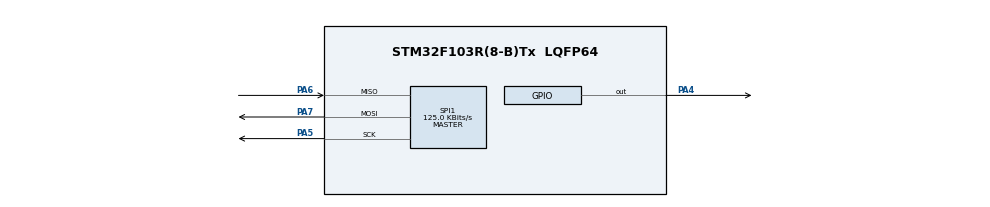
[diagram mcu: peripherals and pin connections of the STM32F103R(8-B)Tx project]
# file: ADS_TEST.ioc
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Mcu.Family=STM32F1
Mcu.Name=STM32F103R(8-B)Tx
Mcu.Package=LQFP64
NVIC.PriorityGroup=NVIC_PRIORITYGROUP_4
PA13.Mode=Serial_Wire
PA13.Signal=SYS_JTMS-SWDIO
PA14.Mode=Serial_Wire
PA14.Signal=SYS_JTCK-SWCLK
PA4.Signal=GPIO_Output
PA5.Mode=Full_Duplex_Master
PA5.Signal=SPI1_SCK
PA6.Mode=Full_Duplex_Master
PA6.Signal=SPI1_MISO
PA7.Mode=Full_Duplex_Master
PA7.Signal=SPI1_MOSI
ProjectManager.HeapSize=0x200
ProjectManager.StackSize=0x400
ProjectManager.TargetToolchain=CMake
RCC.APB1Freq_Value=8000000
RCC.APB2Freq_Value=8000000
SPI1.BaudRatePrescaler=SPI_BAUDRATEPRESCALER_64
SPI1.CLKPhase=SPI_PHASE_2EDGE
SPI1.CalculateBaudRate=125.0 KBits/s
SPI1.Direction=SPI_DIRECTION_2LINES
SPI1.Mode=SPI_MODE_MASTER
SPI1.VirtualType=VM_MASTER
board=custom

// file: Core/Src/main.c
/* USER CODE BEGIN Header */
/**
  ******************************************************************************
  * @file           : main.c
  * @brief          : Main program body
  ******************************************************************************
  * @attention
  *
  * Copyright (c) 2026 STMicroelectronics.
  * All rights reserved.
  *
  * This software is licensed under terms that can be found in the LICENSE file
  * in the root directory of this software component.
  * If no LICENSE file comes with this software, it is provided AS-IS.
  *
  ******************************************************************************
  */
/* USER CODE END Header */
#include "main.h"

SPI_HandleTypeDef hspi1;

/* USER CODE BEGIN PV */
volatile int test_result = 0;

uint8_t spi_tx[2] = {0xA5, 0x5A};
uint8_t spi_rx[2] = {0};

volatile uint32_t spi_ok = 0;
volatile uint32_t spi_error = 0;

/* USER CODE END PV */

void SystemClock_Config(void);
static void MX_GPIO_Init(void);
static void MX_SPI1_Init(void);

/* USER CODE BEGIN 0 */

// Формирование SPI-команды чтения регистров
static uint8_t ADS1220_RREG(uint8_t reg, uint8_t count)
{
    return 0x20 | (reg << 2) | (count - 1);
}

// Преобразование 24-битного результата АЦП
static int32_t ADS1220_Decode(uint8_t b0,
                              uint8_t b1,
                              uint8_t b2)
{
    uint32_t raw = ((uint32_t)b0 << 16) |
                   ((uint32_t)b1 << 8) | b2;

    if (raw & 0x800000)
        return (int32_t)raw - 0x1000000;

    return (int32_t)raw;
}

/* USER CODE END 0 */

int main(void)
{

  /* MCU Configuration--------------------------------------------------------*/

  /* Reset of all peripherals, Initializes the Flash interface and the Systick. */
  HAL_Init();

  /* Configure the system clock */
  SystemClock_Config();

  /* Initialize all configured peripherals */
  MX_GPIO_Init();
  MX_SPI1_Init();
  HAL_GPIO_WritePin(GPIOA, GPIO_PIN_4, GPIO_PIN_SET);
  /* USER CODE BEGIN 2 */

  if (ADS1220_RREG(0, 1) == 0x20 &&
      ADS1220_RREG(1, 3) == 0x26 &&
      ADS1220_Decode(0x7F, 0xFF, 0xFF) == 8388607 &&
      ADS1220_Decode(0xFF, 0xFF, 0xFF) == -1)
  {
      test_result = 1; // Тест пройден
  }
  else
  {
      test_result = -1; // Ошибка
  }

  /* USER CODE END 2 */

  /* Infinite loop */
  while (1)
  {

    /* USER CODE BEGIN 3 */
    HAL_GPIO_WritePin(GPIOA, GPIO_PIN_4, GPIO_PIN_RESET);

/* Передаём и принимаем два байта */
    HAL_StatusTypeDef status = HAL_SPI_TransmitReceive(
        &hspi1,
        spi_tx,
        spi_rx,
        2,
        100
    );

    /* Поднимаем CS */
    HAL_GPIO_WritePin(GPIOA, GPIO_PIN_4, GPIO_PIN_SET);

    /* Проверяем результат */
    if (status == HAL_OK &&
        spi_rx[0] == spi_tx[0] &&
        spi_rx[1] == spi_tx[1])
    {
        spi_ok++;
    }
    else
    {
        spi_error++;
    }

    /* Задержка перед следующей передачей */
    HAL_Delay(500);
  }
  /* USER CODE END 3 */
}

void SystemClock_Config(void)
{
  RCC_OscInitTypeDef RCC_OscInitStruct = {0};
  RCC_ClkInitTypeDef RCC_ClkInitStruct = {0};

  /** Initializes the RCC Oscillators according to the specified parameters
  * in the RCC_OscInitTypeDef structure.
  */
  RCC_OscInitStruct.OscillatorType = RCC_OSCILLATORTYPE_HSI;
  RCC_OscInitStruct.HSIState = RCC_HSI_ON;
  RCC_OscInitStruct.HSICalibrationValue = RCC_HSICALIBRATION_DEFAULT;
  RCC_OscInitStruct.PLL.PLLState = RCC_PLL_NONE;
  if (HAL_RCC_OscConfig(&RCC_OscInitStruct) != HAL_OK)
  {
    Error_Handler();
  }

  /** Initializes the CPU, AHB and APB buses clocks
  */
  RCC_ClkInitStruct.ClockType = RCC_CLOCKTYPE_HCLK|RCC_CLOCKTYPE_SYSCLK
                              |RCC_CLOCKTYPE_PCLK1|RCC_CLOCKTYPE_PCLK2;
  RCC_ClkInitStruct.SYSCLKSource = RCC_SYSCLKSOURCE_HSI;
  RCC_ClkInitStruct.AHBCLKDivider = RCC_SYSCLK_DIV1;
  RCC_ClkInitStruct.APB1CLKDivider = RCC_HCLK_DIV1;
  RCC_ClkInitStruct.APB2CLKDivider = RCC_HCLK_DIV1;

  if (HAL_RCC_ClockConfig(&RCC_ClkInitStruct, FLASH_LATENCY_0) != HAL_OK)
  {
    Error_Handler();
  }
}

static void MX_SPI1_Init(void)
{

  /* SPI1 parameter configuration*/
  hspi1.Instance = SPI1;
  hspi1.Init.Mode = SPI_MODE_MASTER;
  hspi1.Init.Direction = SPI_DIRECTION_2LINES;
  hspi1.Init.DataSize = SPI_DATASIZE_8BIT;
  hspi1.Init.CLKPolarity = SPI_POLARITY_LOW;
  hspi1.Init.CLKPhase = SPI_PHASE_2EDGE;
  hspi1.Init.NSS = SPI_NSS_SOFT;
  hspi1.Init.BaudRatePrescaler = SPI_BAUDRATEPRESCALER_64;
  hspi1.Init.FirstBit = SPI_FIRSTBIT_MSB;
  hspi1.Init.TIMode = SPI_TIMODE_DISABLE;
  hspi1.Init.CRCCalculation = SPI_CRCCALCULATION_DISABLE;
  hspi1.Init.CRCPolynomial = 10;
  if (HAL_SPI_Init(&hspi1) != HAL_OK)
  {
    Error_Handler();
  }

}

static void MX_GPIO_Init(void)
{
  GPIO_InitTypeDef GPIO_InitStruct = {0};

  /* GPIO Ports Clock Enable */
  __HAL_RCC_GPIOA_CLK_ENABLE();

  /*Configure GPIO pin Output Level */
  HAL_GPIO_WritePin(GPIOA, GPIO_PIN_4, GPIO_PIN_RESET);

  /*Configure GPIO pin : PA4 */
  GPIO_InitStruct.Pin = GPIO_PIN_4;
  GPIO_InitStruct.Mode = GPIO_MODE_OUTPUT_PP;
  GPIO_InitStruct.Pull = GPIO_NOPULL;
  GPIO_InitStruct.Speed = GPIO_SPEED_FREQ_LOW;
  HAL_GPIO_Init(GPIOA, &GPIO_InitStruct);

}

void Error_Handler(void)
{
  __disable_irq();
  while (1)
  {
  }
}
